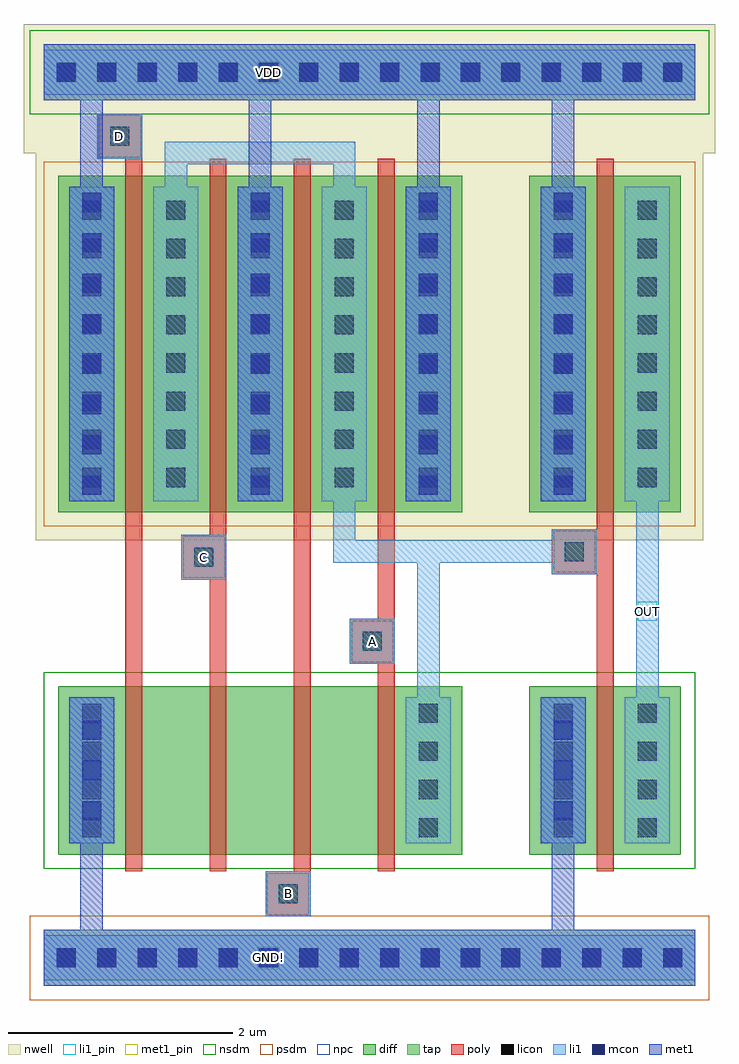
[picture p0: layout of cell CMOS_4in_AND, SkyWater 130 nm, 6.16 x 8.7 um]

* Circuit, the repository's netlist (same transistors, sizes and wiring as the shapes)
* NGSPICE file created from CMOS_4in_AND.ext - technology: sky130A

.subckt CMOS_4in_AND GND OUT A B C D VDD
X0 a_n1300_870# B VDD VDD sky130_fd_pr__pfet_01v8 ad=3.6e+12p pd=1.44e+07u as=7.2e+12p ps=2.88e+07u w=3e+06u l=150000u
X1 a_n1300_870# D VDD VDD sky130_fd_pr__pfet_01v8 ad=0p pd=0u as=0p ps=0u w=3e+06u l=150000u
X2 OUT a_n1300_870# VDD VDD sky130_fd_pr__pfet_01v8 ad=1.8e+12p pd=7.2e+06u as=0p ps=0u w=3e+06u l=150000u
X3 a_n1000_260# B a_n1150_260# GND sky130_fd_pr__nfet_01v8 ad=9e+11p pd=4.2e+06u as=9e+11p ps=4.2e+06u w=1.5e+06u l=150000u
X4 VDD A a_n1300_870# VDD sky130_fd_pr__pfet_01v8 ad=0p pd=0u as=0p ps=0u w=3e+06u l=150000u
X5 VDD C a_n1300_870# VDD sky130_fd_pr__pfet_01v8 ad=0p pd=0u as=0p ps=0u w=3e+06u l=150000u
X6 a_n1300_260# D GND GND sky130_fd_pr__nfet_01v8 ad=9e+11p pd=4.2e+06u as=1.8e+12p ps=8.4e+06u w=1.5e+06u l=150000u
X7 OUT a_n1300_870# GND GND sky130_fd_pr__nfet_01v8 ad=9e+11p pd=4.2e+06u as=0p ps=0u w=1.5e+06u l=150000u
X8 a_n1300_870# A a_n1000_260# GND sky130_fd_pr__nfet_01v8 ad=9e+11p pd=4.2e+06u as=0p ps=0u w=1.5e+06u l=150000u
X9 a_n1150_260# C a_n1300_260# GND sky130_fd_pr__nfet_01v8 ad=0p pd=0u as=0p ps=0u w=1.5e+06u l=150000u
.ends

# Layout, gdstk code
import gdstk
lib = gdstk.Library(unit=1e-6, precision=1e-09)
def R(c, l, rs):  # rectangles x0, y0, x1, y1
    for r in rs: c.add(gdstk.rectangle(r[:2], r[2:], *l))
def A(c, l, x, y, w, h, nx, ny, dx, dy):  # array of equal rectangles
    R(c, l, [(x+i*dx, y+j*dy, x+i*dx+w, y+j*dy+h) for i in range(nx) for j in range(ny)])
nwell = (64, 20)
diff = (65, 20)
tap = (65, 44)
poly = (66, 20)
licon = (66, 44)
li1_pin = (67, 16)
li1 = (67, 20)
mcon = (67, 44)
met1_pin = (68, 16)
met1 = (68, 20)
nsdm = (93, 44)
psdm = (94, 20)
npc = (95, 20)

cmos_4in_and = lib.new_cell('CMOS_4in_AND')
R(cmos_4in_and, nwell, [(-7.45,4.1,-1.5,7.55), (-7.555,7.55,-1.395,8.7)])
R(cmos_4in_and, diff, [(-7.25,1.3,-3.65,2.8), (-3.05,1.3,-1.7,2.8), (-7.25,4.35,-3.65,7.35), (-3.05,4.35,-1.7,7.35)])
R(cmos_4in_and, tap, [(-7.375,0.13,-1.575,0.63), (-7.375,8.02,-1.575,8.52)])
R(cmos_4in_and, poly, [(-5.4,0.75,-5,1.15), (-6.65,1.15,-6.5,7.5), (-5.9,1.15,-5.75,3.75), (-5.15,1.15,-5,7.5), (-4.4,1.15,-4.25,3), (-2.45,1.15,-2.3,3.8), (-4.65,3,-4.25,3.4), (-4.4,3.4,-4.25,7.5), (-6.15,3.75,-5.75,4.15), (-2.85,3.8,-2.3,4.2), (-5.9,4.15,-5.75,7.5), (-2.45,4.2,-2.3,7.5), (-6.9,7.5,-6.5,7.9)])
A(cmos_4in_and, licon, -7.26, 0.295, 0.17, 0.17, 16, 2, 0.36, 7.89)
A(cmos_4in_and, licon, -7.035, 1.455, 0.17, 0.17, 1, 4, 0, 0.34)
A(cmos_4in_and, licon, -4.035, 1.455, 0.17, 0.17, 1, 4, 0, 0.34)
A(cmos_4in_and, licon, -2.835, 1.455, 0.17, 0.17, 1, 4, 0, 0.34)
A(cmos_4in_and, licon, -2.085, 1.455, 0.17, 0.17, 1, 4, 0, 0.34)
A(cmos_4in_and, licon, -7.035, 4.575, 0.17, 0.17, 5, 8, 0.75, 0.34)
A(cmos_4in_and, licon, -2.835, 4.575, 0.17, 0.17, 1, 8, 0, 0.34)
A(cmos_4in_and, licon, -2.085, 4.575, 0.17, 0.17, 1, 8, 0, 0.34)
R(cmos_4in_and, licon, [(-5.285,0.865,-5.115,1.035), (-4.535,3.115,-4.365,3.285), (-6.035,3.865,-5.865,4.035), (-2.735,3.915,-2.565,4.085), (-6.785,7.615,-6.615,7.785)])
R(cmos_4in_and, li1_pin, [(-5.285,0.865,-5.115,1.035), (-4.535,3.115,-4.365,3.285), (-2.085,3.385,-1.915,3.555), (-6.035,3.865,-5.865,4.035), (-6.785,7.615,-6.615,7.785)])
A(cmos_4in_and, li1, -7.15, 4.45, 0.4, 2.8, 5, 1, 0.75, 0)
R(cmos_4in_and, li1, [(-7.375,0.18,-1.575,0.58), (-5.4,0.75,-5,1.15), (-7.15,1.4,-6.75,2.7), (-4.15,1.4,-3.75,2.7), (-2.95,1.4,-2.55,2.7), (-2.2,1.4,-1.8,2.7), (-4.05,2.7,-3.85,3.9), (-2.1,2.7,-1.9,4.45), (-4.65,3,-4.25,3.4), (-6.15,3.75,-5.75,4.15), (-2.85,3.8,-2.45,3.9), (-4.8,3.9,-2.45,4.1), (-4.8,4.1,-4.6,4.45), (-2.85,4.1,-2.45,4.2), (-2.95,4.45,-2.55,7.25), (-2.2,4.45,-1.8,7.25), (-6.3,7.25,-6.1,7.45), (-4.8,7.25,-4.6,7.45), (-6.3,7.45,-4.6,7.65), (-6.9,7.5,-6.5,7.9), (-7.375,8.07,-1.575,8.47)])
A(cmos_4in_and, mcon, -7.26, 0.295, 0.17, 0.17, 16, 2, 0.36, 7.89)
A(cmos_4in_and, mcon, -7.035, 1.605, 0.17, 0.17, 1, 3, 0, 0.36)
A(cmos_4in_and, mcon, -2.835, 1.605, 0.17, 0.17, 1, 3, 0, 0.36)
A(cmos_4in_and, mcon, -7.035, 4.505, 0.17, 0.17, 3, 8, 1.5, 0.36)
A(cmos_4in_and, mcon, -2.835, 4.505, 0.17, 0.17, 1, 8, 0, 0.36)
R(cmos_4in_and, met1_pin, [(-5.475,0.28,-5.275,0.48), (-5.475,8.17,-5.275,8.37)])
A(cmos_4in_and, met1, -7.15, 4.45, 0.4, 2.8, 3, 1, 1.5, 0)
A(cmos_4in_and, met1, -7.05, 7.25, 0.2, 0.77, 3, 1, 1.5, 0)
R(cmos_4in_and, met1, [(-7.375,0.13,-1.575,0.63), (-7.05,0.63,-6.85,1.4), (-2.85,0.63,-2.65,1.4), (-7.15,1.4,-6.75,2.7), (-2.95,1.4,-2.55,2.7), (-2.95,4.45,-2.55,7.25), (-2.85,7.25,-2.65,8.02), (-7.375,8.02,-1.575,8.52)])
R(cmos_4in_and, nsdm, [(-7.375,1.175,-1.575,2.925), (-7.5,7.895,-1.45,8.645)])
R(cmos_4in_and, psdm, [(-7.5,0.005,-1.45,0.755), (-7.375,4.225,-1.575,7.475)])
R(cmos_4in_and, npc, [(-5.385,0.765,-5.015,1.135), (-4.635,3.015,-4.265,3.385), (-6.135,3.765,-5.765,4.135), (-2.835,3.815,-2.465,4.185), (-6.885,7.515,-6.515,7.885)])
cmos_4in_and.add(gdstk.Label('GND!', (-5.375,0.38), layer=68, texttype=16))
cmos_4in_and.add(gdstk.Label('VDD', (-5.375,8.27), layer=68, texttype=16))
cmos_4in_and.add(gdstk.Label('OUT', (-2,3.47), layer=67, texttype=16))
cmos_4in_and.add(gdstk.Label('A', (-4.45,3.2), layer=67, texttype=16))
cmos_4in_and.add(gdstk.Label('B', (-5.2,0.95), layer=67, texttype=16))
cmos_4in_and.add(gdstk.Label('C', (-5.95,3.95), layer=67, texttype=16))
cmos_4in_and.add(gdstk.Label('D', (-6.7,7.7), layer=67, texttype=16))

lib.write_gds('CMOS_4in_AND.gds')
